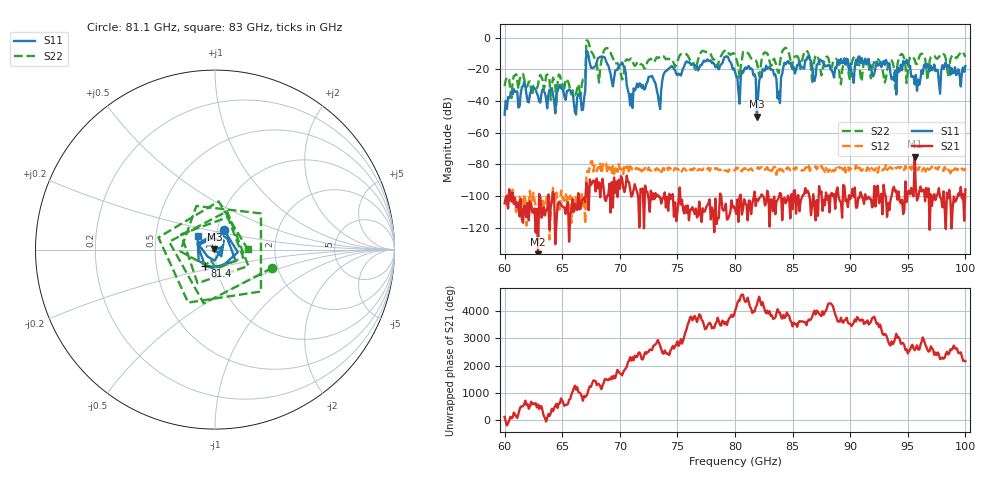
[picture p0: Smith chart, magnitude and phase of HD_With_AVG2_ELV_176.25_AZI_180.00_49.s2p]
! 11/25/2026 10:34:52 AM
! C:\ANRITSUVNA\TEMP\TEMP.S2P
! CHANNEL.1
! TR.MEASUREMENT
! RAW.DATA
# HZ S RI R 50.0
! FREQ.HZ  S11RE  S11IM  S21RE  S21IM  S12RE  S12IM  S22RE  S22IM
!; PortSelection: Port_12
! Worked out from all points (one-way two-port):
!   401 points, 60 GHz to 100 GHz, reference 50 ohm
!   highest |S21| = -75.23 dB at 95.6 GHz (marker M1); lowest = -137.0 dB at 62.9 GHz (marker M2)
!   lowest |S11| = -49.9 dB at 81.9 GHz (marker M3), VSWR 1.01, Z = 49.7 + j0.0894 ohm
!   |S11| at or under -10 dB: start of sweep to 67.09 GHz; 67.24 GHz to end of sweep
!   |S22| runs from -42.9 to -1.7 dB; largest |S21 - S12| = 0.00015
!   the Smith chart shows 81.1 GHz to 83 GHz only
!   S11 on the Smith chart (normalised r, x): 81.1 GHz: 1.08, +0.24; 81.4 GHz: 0.88, -0.17; 83 GHz: 0.81, +0.12
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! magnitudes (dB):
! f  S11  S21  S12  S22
! 60 GHz  -48.6  -104.6  -105.1  -30.5
! 62.9 GHz  -36.8  -137.0  -114.2  -30.0
! 66.7 GHz  -45.7  -102.6  -98.9  -29.5
! 67.3 GHz  -12.1  -108.9  -85.0  -3.1
! 68.4 GHz  -11.8  -92.6  -85.8  -14.7
! 68.9 GHz  -16.5  -99.9  -84.3  -6.5
! 70.3 GHz  -17.5  -94.9  -86.1  -25.5
! 70.9 GHz  -42.6  -95.6  -81.3  -13.5
! 72.7 GHz  -24.4  -96.6  -84.0  -13.3
! 73.4 GHz  -41.0  -100.5  -83.8  -12.6
! 74.4 GHz  -18.6  -102.0  -82.7  -13.4
! 80 GHz  -21.2  -108.3  -83.8  -11.0
! 81.1 GHz  -18.4  -115.3  -83.5  -9.5
! 81.4 GHz  -19.3  -111.4  -82.5  -13.0
! 81.9 GHz  -49.9  -102.0  -83.0  -15.7
! 83 GHz  -18.3  -119.3  -82.0  -14.8
! 83.8 GHz  -34.0  -100.9  -81.7  -22.3
! 84.4 GHz  -16.7  -104.6  -81.9  -6.3
! 86.7 GHz  -17.5  -105.4  -82.5  -27.9
! 93.4 GHz  -16.4  -109.0  -82.4  -15.6
! 95.6 GHz  -29.5  -75.2  -77.6  -13.9
! 100 GHz  -17.9  -95.8  -82.4  -12.1
